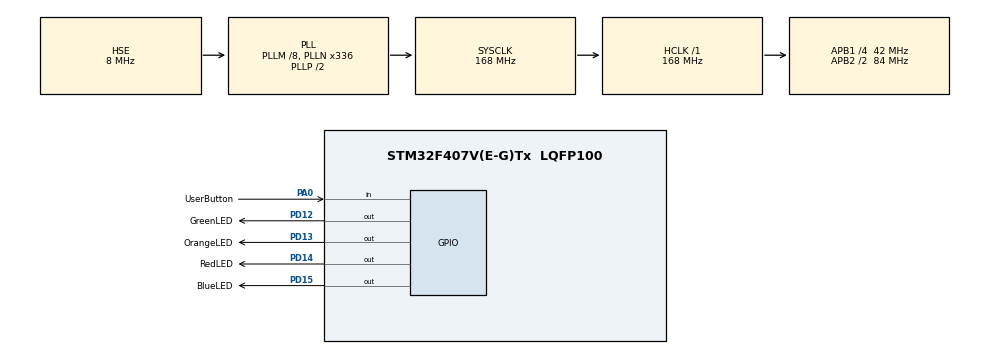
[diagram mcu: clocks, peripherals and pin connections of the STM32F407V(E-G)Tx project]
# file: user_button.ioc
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Mcu.Family=STM32F4
Mcu.Name=STM32F407V(E-G)Tx
Mcu.Package=LQFP100
NVIC.PriorityGroup=NVIC_PRIORITYGROUP_0
PA0-WKUP.GPIO_Label=UserButton
PA0-WKUP.Signal=GPIO_Input
PD12.GPIO_Label=GreenLED
PD12.Signal=GPIO_Output
PD13.GPIO_Label=OrangeLED 
PD13.Signal=GPIO_Output
PD14.GPIO_Label=RedLED 
PD14.Signal=GPIO_Output
PD15.GPIO_Label=BlueLED 
PD15.Signal=GPIO_Output
PH0-OSC_IN.Mode=HSE-External-Oscillator
PH0-OSC_IN.Signal=RCC_OSC_IN
PH1-OSC_OUT.Mode=HSE-External-Oscillator
PH1-OSC_OUT.Signal=RCC_OSC_OUT
ProjectManager.HeapSize=0x200
ProjectManager.StackSize=0x400
ProjectManager.TargetToolchain=STM32CubeIDE
RCC.48MHZClocksFreq_Value=48000000
RCC.AHBFreq_Value=168000000
RCC.APB1CLKDivider=RCC_HCLK_DIV4
RCC.APB1Freq_Value=42000000
RCC.APB1TimFreq_Value=84000000
RCC.APB2CLKDivider=RCC_HCLK_DIV2
RCC.APB2Freq_Value=84000000
RCC.APB2TimFreq_Value=168000000
RCC.CortexFreq_Value=168000000
RCC.HCLKFreq_Value=168000000
RCC.HSE_VALUE=8000000
RCC.HSI_VALUE=16000000
RCC.LSE_VALUE=32768
RCC.PLLM=8
RCC.PLLN=336
RCC.PLLQ=7
RCC.PLLSourceVirtual=RCC_PLLSOURCE_HSE
RCC.SYSCLKFreq_VALUE=168000000
RCC.SYSCLKSource=RCC_SYSCLKSOURCE_PLLCLK
RCC.VCOOutputFreq_Value=336000000
VP_RNG_VS_RNG.Mode=RNG_Activate
board=STM32F407G-DISC1

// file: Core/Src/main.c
/* USER CODE BEGIN Header */
/**
  ******************************************************************************
  * @file           : main.c
  * @brief          : Main program body
  ******************************************************************************
  * @attention
  *
  * Copyright (c) 2024 STMicroelectronics.
  * All rights reserved.
  *
  * This software is licensed under terms that can be found in the LICENSE file
  * in the root directory of this software component.
  * If no LICENSE file comes with this software, it is provided AS-IS.
  *
  ******************************************************************************
  */
/* USER CODE END Header */
#include "main.h"
#include "rng.h"
#include "gpio.h"

void SystemClock_Config(void);

int main(void)
{

  /* MCU Configuration--------------------------------------------------------*/

  /* Reset of all peripherals, Initializes the Flash interface and the Systick. */
  HAL_Init();

  /* Configure the system clock */
  SystemClock_Config();

  /* Initialize all configured peripherals */
  MX_GPIO_Init();
  MX_RNG_Init();

  /* Infinite loop */
  /* USER CODE BEGIN WHILE */
  while (1)
  {
	  if (HAL_GPIO_ReadPin(UserButton_GPIO_Port, UserButton_Pin) == GPIO_PIN_SET){
		  HAL_GPIO_WritePin(BlueLED_GPIO_Port, BlueLED_Pin, GPIO_PIN_SET);
		  HAL_Delay(250);
		  HAL_GPIO_WritePin(BlueLED_GPIO_Port, BlueLED_Pin, GPIO_PIN_RESET);
		  HAL_GPIO_WritePin(GreenLED_GPIO_Port, GreenLED_Pin, GPIO_PIN_SET);
		  HAL_Delay(250);
		  HAL_GPIO_WritePin(GreenLED_GPIO_Port, GreenLED_Pin, GPIO_PIN_RESET);
		  HAL_GPIO_WritePin(OrangeLED_GPIO_Port, OrangeLED_Pin, GPIO_PIN_SET);
		  HAL_Delay(250);
		  HAL_GPIO_WritePin(OrangeLED_GPIO_Port, OrangeLED_Pin, GPIO_PIN_RESET);
		  HAL_GPIO_WritePin(RedLED_GPIO_Port, RedLED_Pin, GPIO_PIN_SET);
		  HAL_Delay(250);
		  HAL_GPIO_WritePin(RedLED_GPIO_Port, RedLED_Pin, GPIO_PIN_RESET);
	  } else {
		  HAL_GPIO_WritePin(BlueLED_GPIO_Port, BlueLED_Pin, GPIO_PIN_SET);
		  HAL_Delay(250);
		  HAL_GPIO_WritePin(BlueLED_GPIO_Port, BlueLED_Pin, GPIO_PIN_RESET);
		  HAL_GPIO_WritePin(RedLED_GPIO_Port, RedLED_Pin, GPIO_PIN_SET);
		  HAL_Delay(250);
		  HAL_GPIO_WritePin(RedLED_GPIO_Port, RedLED_Pin, GPIO_PIN_RESET);
		  HAL_GPIO_WritePin(OrangeLED_GPIO_Port, OrangeLED_Pin, GPIO_PIN_SET);
		  HAL_Delay(250);
		  HAL_GPIO_WritePin(OrangeLED_GPIO_Port, OrangeLED_Pin, GPIO_PIN_RESET);
		  HAL_GPIO_WritePin(GreenLED_GPIO_Port, GreenLED_Pin, GPIO_PIN_SET);
		  HAL_Delay(250);
		  HAL_GPIO_WritePin(GreenLED_GPIO_Port, GreenLED_Pin, GPIO_PIN_RESET);
	  }
    /* USER CODE END WHILE */

  }
}

void SystemClock_Config(void)
{
  RCC_OscInitTypeDef RCC_OscInitStruct = {0};
  RCC_ClkInitTypeDef RCC_ClkInitStruct = {0};

  /** Configure the main internal regulator output voltage
  */
  __HAL_RCC_PWR_CLK_ENABLE();
  __HAL_PWR_VOLTAGESCALING_CONFIG(PWR_REGULATOR_VOLTAGE_SCALE1);

  /** Initializes the RCC Oscillators according to the specified parameters
  * in the RCC_OscInitTypeDef structure.
  */
  RCC_OscInitStruct.OscillatorType = RCC_OSCILLATORTYPE_HSE;
  RCC_OscInitStruct.HSEState = RCC_HSE_ON;
  RCC_OscInitStruct.PLL.PLLState = RCC_PLL_ON;
  RCC_OscInitStruct.PLL.PLLSource = RCC_PLLSOURCE_HSE;
  RCC_OscInitStruct.PLL.PLLM = 8;
  RCC_OscInitStruct.PLL.PLLN = 336;
  RCC_OscInitStruct.PLL.PLLP = RCC_PLLP_DIV2;
  RCC_OscInitStruct.PLL.PLLQ = 7;
  if (HAL_RCC_OscConfig(&RCC_OscInitStruct) != HAL_OK)
  {
    Error_Handler();
  }

  /** Initializes the CPU, AHB and APB buses clocks
  */
  RCC_ClkInitStruct.ClockType = RCC_CLOCKTYPE_HCLK|RCC_CLOCKTYPE_SYSCLK
                              |RCC_CLOCKTYPE_PCLK1|RCC_CLOCKTYPE_PCLK2;
  RCC_ClkInitStruct.SYSCLKSource = RCC_SYSCLKSOURCE_PLLCLK;
  RCC_ClkInitStruct.AHBCLKDivider = RCC_SYSCLK_DIV1;
  RCC_ClkInitStruct.APB1CLKDivider = RCC_HCLK_DIV4;
  RCC_ClkInitStruct.APB2CLKDivider = RCC_HCLK_DIV2;

  if (HAL_RCC_ClockConfig(&RCC_ClkInitStruct, FLASH_LATENCY_5) != HAL_OK)
  {
    Error_Handler();
  }
}

void Error_Handler(void)
{
  __disable_irq();
  while (1)
  {
  }
}
